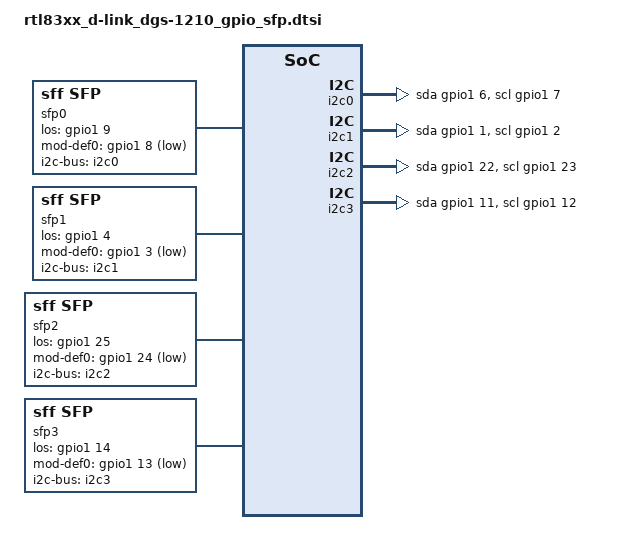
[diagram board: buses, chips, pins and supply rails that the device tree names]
// SPDX-License-Identifier: GPL-2.0-or-later OR MIT

/ {
	/* Lan 49 */
	i2c0: i2c-gpio-0 {
		compatible = "i2c-gpio";
		sda-gpios = <&gpio1 6 (GPIO_ACTIVE_HIGH | GPIO_OPEN_DRAIN)>;
		scl-gpios = <&gpio1 7 (GPIO_ACTIVE_HIGH | GPIO_OPEN_DRAIN)>;
		i2c-gpio,delay-us = <2>;
		#address-cells = <1>;
		#size-cells = <0>;
	};

	sfp0: sfp-p49 {
		compatible = "sff,sfp";
		i2c-bus = <&i2c0>;
		los-gpio = <&gpio1 9 GPIO_ACTIVE_HIGH>;
		mod-def0-gpio = <&gpio1 8 GPIO_ACTIVE_LOW>;
		/* tx-disable-gpio handled by RTL8214FC based on media setting */
	};

	/* Lan 50 */
	i2c1: i2c-gpio-1 {
		compatible = "i2c-gpio";
		sda-gpios = <&gpio1 1 (GPIO_ACTIVE_HIGH | GPIO_OPEN_DRAIN)>;
		scl-gpios = <&gpio1 2 (GPIO_ACTIVE_HIGH | GPIO_OPEN_DRAIN)>;
		i2c-gpio,delay-us = <2>;
		#address-cells = <1>;
		#size-cells = <0>;
	};

	sfp1: sfp-p50 {
		compatible = "sff,sfp";
		i2c-bus = <&i2c1>;
		los-gpio = <&gpio1 4 GPIO_ACTIVE_HIGH>;
		mod-def0-gpio = <&gpio1 3 GPIO_ACTIVE_LOW>;
		/* tx-disable-gpio handled by RTL8214FC based on media setting */
	};

	/* Lan 51 */
	i2c2: i2c-gpio-2 {
		compatible = "i2c-gpio";
		sda-gpios = <&gpio1 22 (GPIO_ACTIVE_HIGH | GPIO_OPEN_DRAIN)>;
		scl-gpios = <&gpio1 23 (GPIO_ACTIVE_HIGH | GPIO_OPEN_DRAIN)>;
		i2c-gpio,delay-us = <2>;
		#address-cells = <1>;
		#size-cells = <0>;
	};

	sfp2: sfp-p51 {
		compatible = "sff,sfp";
		i2c-bus = <&i2c2>;
		los-gpio = <&gpio1 25 GPIO_ACTIVE_HIGH>;
		mod-def0-gpio = <&gpio1 24 GPIO_ACTIVE_LOW>;
		/* tx-disable-gpio handled by RTL8214FC based on media setting */
	};

	/* Lan 52 */
	i2c3: i2c-gpio-3 {
		compatible = "i2c-gpio";
		sda-gpios = <&gpio1 11 (GPIO_ACTIVE_HIGH | GPIO_OPEN_DRAIN)>;
		scl-gpios = <&gpio1 12 (GPIO_ACTIVE_HIGH | GPIO_OPEN_DRAIN)>;
		i2c-gpio,delay-us = <2>;
		#address-cells = <1>;
		#size-cells = <0>;
	};

	sfp3: sfp-p52 {
		compatible = "sff,sfp";
		i2c-bus = <&i2c3>;
		los-gpio = <&gpio1 14 GPIO_ACTIVE_HIGH>;
		mod-def0-gpio = <&gpio1 13 GPIO_ACTIVE_LOW>;
		/* tx-disable-gpio handled by RTL8214FC based on media setting */
	};
};
